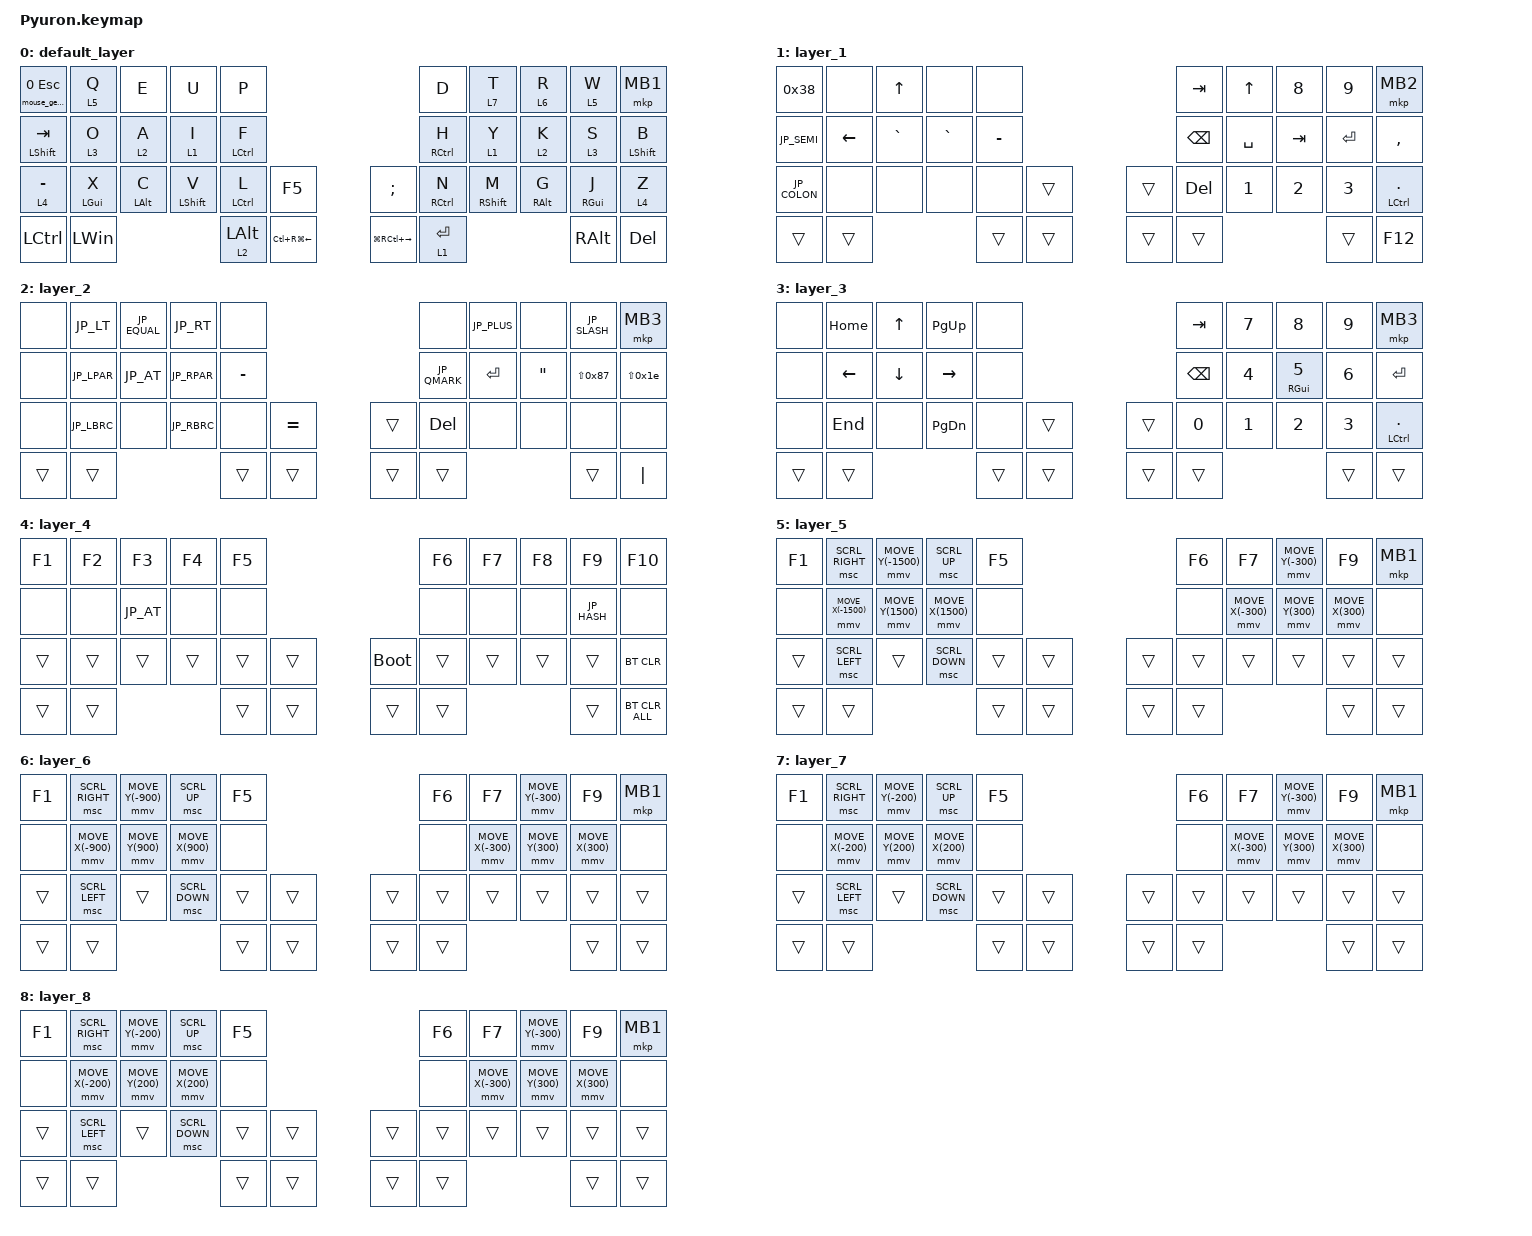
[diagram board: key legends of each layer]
#include <behaviors.dtsi>
#include <dt-bindings/zmk/bt.h>
#include <dt-bindings/zmk/keys.h>
#include <dt-bindings/zmk/pointing.h>
#include "keycode_japanese.h"

#include <mouse-gesture.dtsi>


#define MOUSE 6

#define ZMK_POINTING_DEFAULT_MOVE_VAL 2000 // default: 600
#define ZMK_POINTING_DEFAULT_SCRL_VAL 40    // default: 10



&mouse_gesture_kp {
    tapping-term-ms = <200>;
    quick-tap-ms = <250>;
    flavor = "balanced";
};

&mouse_gesture_mkp {
    tapping-term-ms = <200>;
    quick-tap-ms = <250>;
    flavor = "balanced";
};



&zip_mouse_gesture {
    stroke-size = <150>;
    enable-eager-mode;

    history_back {
        pattern = <GESTURE_RIGHT>;
        bindings = <&kp LA(LEFT)>;
    };

    history_forward {
        pattern = <GESTURE_LEFT>;
        bindings = <&kp LA(RIGHT)>;
    };

    close_tab {
        pattern = <GESTURE_DOWN GESTURE_RIGHT>;
        bindings = <&kp LC(W)>;
    };

    new_tab {
        pattern = <GESTURE_DOWN GESTURE_LEFT>;
        bindings = <&kp LC(T)>;
    };

    app_switcher {
        pattern = <GESTURE_DOWN GESTURE_UP>;
        bindings = <&kp LG(TAB)>;
    };

    virtual_desktop_prev {
        pattern = <GESTURE_LEFT GESTURE_DOWN>;
        bindings = <&kp LG(LC(LEFT))>;
    };

    virtual_desktop_next {
        pattern = <GESTURE_RIGHT GESTURE_DOWN>;
        bindings = <&kp LG(LC(RIGHT))>;
    };

    // left {
    //     gesture = <GESTURE_LEFT>;
    //     bindings = <&kp LEFT>;
    // };
    // right {
    //     gesture = <GESTURE_RIGHT>;
    //     bindings = <&kp RIGHT>;
    // };
    // up {
    //     gesture = <GESTURE_UP>;
    //     bindings = <&kp UP>;
    // };
    // down {
    //     gesture = <GESTURE_DOWN>;
    //     bindings = <&kp DOWN>;
    // };
};


&mmv {
    time-to-max-speed-ms = <0>;
    acceleration-exponent = <0>;
    trigger-period-ms = <10>;
    delay-ms = <0>;
};

&mt { 
    flavor = "balanced"; 
    tapping-term-ms = <200>;
    quick-tap-ms = <150>; 
};

&lt {
    flavor = "balanced";
    tapping-term-ms = <200>; 
    quick-tap-ms = <150>; 
};

// 複数キーの同時押しに特別の入力を設定できる
    // キー番号早見表：
    // 0  1  2  3  4           5  6  7  8  9
    // 10 11 12 13 14          15 16 17 18 19
    // 20 21 22 23 24 25    26 27 28 29 30 31
    // 32 33       34 35    36 37       38 39



/ {
    combos { compatible = "zmk,combos"; 

        lang {
            bindings = <&kp GRAVE>;
            key-positions = <1 3>;
            layers = <0>;
            timeout-ms = <200>;
        };

        fopen {
            bindings = <&kp LG(N2)>;
            key-positions = <5 9>;
            layers = <0>;
            timeout-ms = <200>;
        };

       bootloader_R {
            bindings = <&bootloader>;
            key-positions = <5 9 36 39>;
            timeout-ms = <200>;
        };

       bootloader_L {
            bindings = <&bootloader>;
            key-positions = <0 4 32 35>;
            timeout-ms = <200>;
        };

        eq {
            bindings = <&bt BT_CLR_ALL>;
            key-positions = <0 10 20 32>;
            timeout-ms = <50>;
            layers = <0>;
        };

        bt0 {
            bindings = <&bt BT_SEL 0>;
            key-positions = <5 15 27>;
            timeout-ms = <50>;
            layers = <0>;
        };





};

    macros {
        to_layer_0: to_layer_0 {
            compatible = "zmk,behavior-macro-one-param";
            #binding-cells = <1>;
            bindings = <&to 0 &macro_param_1to1 &kp MACRO_PLACEHOLDER>;
            label = "TO_LAYER_0";
        };
    };

        lt_to_layer_0: lt_to_layer_0 {
            compatible = "zmk,behavior-hold-tap";
            label = "LAYER_TAP_TO_0";
            bindings = <&mo>, <&to_layer_0>;

            #binding-cells = <2>;
            tapping-term-ms = <200>;
        };
    };




/ {
      keymap {
        compatible = "zmk,keymap";
        default_layer {
            bindings = <
&mouse_gesture_kp 0 ESCAPE          &lt 5 Q        &kp E      &kp U         &kp P                                               &kp D        &lt 7 T         &lt 6 R       &lt 5 W       &mkp MB1

&mt LSHIFT TAB      &lt 3 O        &lt 2 A      &lt 1 I         &mt LCTRL F                             &mt RCTRL H  &lt 1 Y         &lt 2 K       &lt 3 S       &mt LEFT_SHIFT B

&lt 4 MINUS    &mt LGUI X   &mt LALT C &mt LSHIFT V  &mt LCTRL L              &kp F5 &kp SEMICOLON  &mt RCTRL N        &mt RSHIFT M  &mt RALT G  &mt RGUI J  &lt 4 Z

&kp LCTRL         &kp LEFT_WIN                                  &lt 2 LEFT_ALT   &kp LC(RG(LEFT))        &kp LG(RC(RIGHT))   &lt 1 ENTER                    &kp RIGHT_ALT &kp DEL
            >;
        };

        layer_1 {
            bindings = <
&kp 0x38     &none      &kp UP     &none       &none                                 &kp TAB          &kp UP          &kp N8        &kp N9         &mkp MB2

&kp JP_SEMI  &kp LEFT   &kp GRAVE  &kp GRAVE   &kp MINUS                             &kp BACKSPACE  &kp SPACE       &kp TAB       &kp ENTER      &kp COMMA 

&kp JP_COLON &none      &none      &none       &none  &trans                 &trans  &kp DELETE     &kp N1          &kp N2        &kp N3         &mt LCTRL PERIOD
&trans  &trans                  &trans  &trans    &trans  &trans                  &trans  &kp F12
            >;
        };

        layer_2 {
            bindings = <
&none        &kp JP_LT      &kp JP_EQUAL   &kp JP_RT  &none                                        &none          &kp JP_PLUS     &none        &kp JP_SLASH  &mkp MB3

&none        &kp JP_LPAR    &kp JP_AT      &kp JP_RPAR   &kp MINUS                                 &kp JP_QMARK   &kp ENTER  &kp DOUBLE_QUOTES &kp LS(0x87)  &kp LS(0x1e)

&none        &kp JP_LBRC    &none          &kp JP_RBRC   &none          &kp EQUAL                  &trans          &kp DELETE          &none           &none         &none         &none
&trans                      &trans                                             &trans        &trans                     &trans          &trans                                               &trans                &kp PIPE
            >;
        };

        layer_3 {
            bindings = <
&none        &kp HOME   &kp UP     &kp PAGE_UP      &none                                 &kp TAB          &kp N7          &kp N8        &kp N9         &mkp MB3

&none        &kp LEFT   &kp DOWN   &kp RIGHT        &none                                 &kp BACKSPACE  &kp N4          &mt RGUI N5        &kp N6         &kp ENTER

&none        &kp END    &none      &kp PAGE_DOWN    &none   &trans                &trans   &kp N0         &kp N1          &kp N2        &kp N3         &mt LCTRL PERIOD
&trans          &trans                                                           &trans   &trans    &trans  &trans                  &trans  &trans
            >;
        };

        layer_4 {
            bindings = <
&kp F1  &kp F2  &kp F3  &kp F4  &kp F5                  &kp F6  &kp F7  &kp F8  &kp F9  &kp F10

&none   &none   &kp JP_AT   &none   &none                   &none   &none   &none   &kp JP_HASH   &none

&trans  &trans  &trans  &trans  &trans  &trans    &bootloader  &trans        &trans        &trans        &trans        &bt BT_CLR
&trans  &trans                  &trans  &trans    &trans       &trans                                    &trans        &bt BT_CLR_ALL
            >;
        };

        layer_5 {
            bindings = <
&kp F1  &msc SCRL_RIGHT  &mmv MOVE_Y(-1500)     &msc SCRL_UP  &kp F5                             &kp F6  &kp F7  &mmv MOVE_Y(-300)  &kp F9  &mkp MB1

&none   &mmv MOVE_X(-1500) &mmv MOVE_Y(1500)    &mmv MOVE_X(1500)   &none                   &none    &mmv MOVE_X(-300) &mmv MOVE_Y(300)    &mmv MOVE_X(300)   &none

&trans  &msc SCRL_LEFT   &trans           &msc SCRL_DOWN  &trans           &trans    &trans  &trans  &trans  &trans  &trans  &trans
&trans  &trans                  &trans  &trans    &trans  &trans                  &trans  &trans
            >;
        };

         layer_6 {
            bindings = <
&kp F1  &msc SCRL_RIGHT  &mmv MOVE_Y(-900)     &msc SCRL_UP  &kp F5                             &kp F6  &kp F7  &mmv MOVE_Y(-300)  &kp F9  &mkp MB1

&none   &mmv MOVE_X(-900) &mmv MOVE_Y(900)    &mmv MOVE_X(900)   &none                   &none    &mmv MOVE_X(-300) &mmv MOVE_Y(300)    &mmv MOVE_X(300)   &none

&trans  &msc SCRL_LEFT   &trans           &msc SCRL_DOWN  &trans           &trans    &trans  &trans  &trans  &trans  &trans  &trans
&trans  &trans                  &trans  &trans    &trans  &trans                  &trans  &trans
            >;
        };

        layer_7 {
            bindings = <
&kp F1  &msc SCRL_RIGHT  &mmv MOVE_Y(-200)     &msc SCRL_UP  &kp F5                             &kp F6  &kp F7  &mmv MOVE_Y(-300)  &kp F9  &mkp MB1

&none   &mmv MOVE_X(-200) &mmv MOVE_Y(200)    &mmv MOVE_X(200)   &none                   &none    &mmv MOVE_X(-300) &mmv MOVE_Y(300)    &mmv MOVE_X(300)   &none

&trans  &msc SCRL_LEFT   &trans           &msc SCRL_DOWN  &trans           &trans    &trans  &trans  &trans  &trans  &trans  &trans
&trans  &trans                  &trans  &trans    &trans  &trans                  &trans  &trans
            >;
        };

        layer_8 {
            bindings = <
&kp F1  &msc SCRL_RIGHT  &mmv MOVE_Y(-200)     &msc SCRL_UP  &kp F5                             &kp F6  &kp F7  &mmv MOVE_Y(-300)  &kp F9  &mkp MB1

&none   &mmv MOVE_X(-200) &mmv MOVE_Y(200)    &mmv MOVE_X(200)   &none                   &none    &mmv MOVE_X(-300) &mmv MOVE_Y(300)    &mmv MOVE_X(300)   &none

&trans  &msc SCRL_LEFT   &trans           &msc SCRL_DOWN  &trans           &trans    &trans  &trans  &trans  &trans  &trans  &trans
&trans  &trans                  &trans  &trans    &trans  &trans                  &trans  &trans
            >;
        };



    };
};
